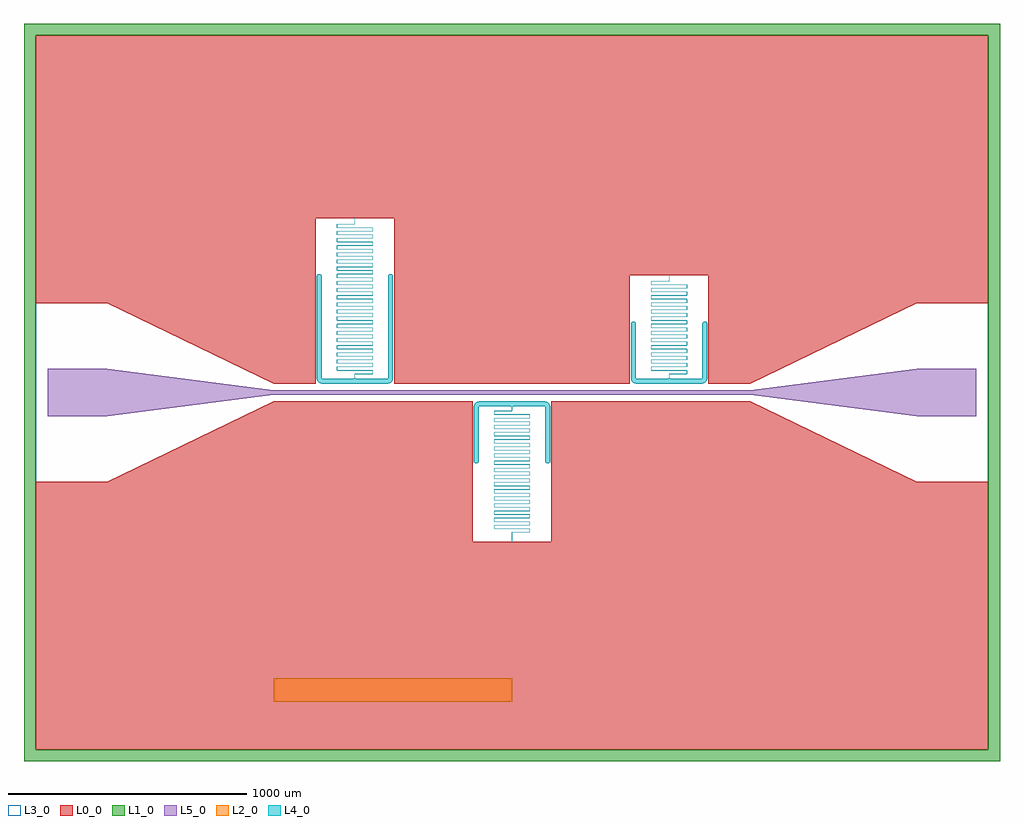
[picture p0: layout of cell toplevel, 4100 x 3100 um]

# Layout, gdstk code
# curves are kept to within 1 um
import gdstk
lib = gdstk.Library(unit=1e-6, precision=1e-09)
def R(c, l, rs):  # rectangles x0, y0, x1, y1
    for r in rs: c.add(gdstk.rectangle(r[:2], r[2:], *l))
def P(c, l, *ps):  # polygons
    for p in ps: c.add(gdstk.Polygon(p, *l))
L0_0 = (0, 0)
L1_0 = (1, 0)
L2_0 = (2, 0)
L3_0 = (3, 0)
L4_0 = (4, 0)
L5_0 = (5, 0)

toplevel = lib.new_cell('toplevel')
P(toplevel, L0_0, [(-495,732.5),(-495,37.5),(495,37.5),(495,492.5),(825,492.5),(825,37.5),(1000,37.5),(1700,375),(2000,375),(2000,1500),(-2000,1500),(-2000,375),(-1700,375),(-1000,37.5),(-825,37.5),(-825,732.5)],
  [(-2000,-1500),(2000,-1500),(2000,-375),(1700,-375),(1000,-37.5),(165,-37.5),(165,-627.5),(-165,-627.5),(-165,-37.5),(-1000,-37.5),(-1700,-375),(-2000,-375)])
P(toplevel, L1_0, [(2050,1550),(-2050,1550),(-2050,-1500),(-2000,-1500),(-2000,1500),(2000,1500),(2000,-1500),(-2000,-1500),(-2050,-1500),(-2050,-1550),(2050,-1550)])
R(toplevel, L2_0, [(-1000,-1300,0,-1200)])
R(toplevel, L3_0, [(-2000,-1500,2000,1500)])
P(toplevel, L4_0, [(-528.256,37.5),(-517.018,38.652),(-508.664,42.765),(-502.925,49.852),(-500.25,59.469),(-500,302.861),(-520,302.861),(-520.028,63.36),(-521.06,58.461),(-527.931,57.5),(-650,57.5),(-659.7,62.5),(-659.291,77.175),(-585.361,77.305),(-584.703,78.388),(-584.702,91.589),(-585.693,92.78),(-734.666,93.171),(-734.696,106.609),(-734.132,107.195),(-584.928,107.636),(-584.704,121.63),(-585.73,122.785),(-733.888,122.8),(-734.7,123.606),(-734.176,137.191),(-584.961,137.594),(-584.707,151.684),(-585.755,152.787),(-733.94,152.8),(-734.7,153.591),(-734.184,167.19),(-585.035,167.513),(-584.707,181.684),(-585.755,182.787),(-733.94,182.8),(-734.7,183.591),(-734.184,197.19),(-585.118,197.442),(-584.707,211.683),(-585.755,212.787),(-733.935,212.8),(-734.7,213.591),(-734.184,227.19),(-585.211,227.379),(-584.702,241.56),(-585.755,242.787),(-733.935,242.8),(-734.699,243.48),(-734.184,257.19),(-585.355,257.308),(-584.701,258.452),(-584.702,271.56),(-585.755,272.787),(-733.935,272.8),(-734.699,273.476),(-734.184,287.19),(-585.572,287.241),(-584.706,288.34),(-584.702,301.56),(-586.111,302.8),(-735.195,302.861),(-733.964,302.2),(-585.428,302.03),(-585.798,287.812),(-733.888,287.8),(-734.959,287.492),(-735.3,286.404),(-735.287,273.249),(-734.251,272.213),(-585.458,272.061),(-585.798,257.812),(-733.888,257.8),(-734.959,257.492),(-735.3,256.404),(-735.295,243.352),(-734.251,242.213),(-585.535,242.115),(-585.798,227.812),(-733.888,227.8),(-734.959,227.492),(-735.3,226.404),(-735.289,213.274),(-734.251,212.213),(-585.686,212.17),(-585.605,197.854),(-734.245,197.787),(-735.292,196.684),(-735.3,183.59),(-733.97,182.2),(-585.816,182.19),(-585.466,167.932),(-734.245,167.787),(-735.292,166.684),(-735.3,153.59),(-733.97,152.2),(-585.816,152.19),(-585.433,137.964),(-734.251,137.787),(-735.294,136.666),(-735.3,123.595),(-734.987,122.535),(-733.888,122.2),(-585.85,122.193),(-585.303,121.595),(-585.3,108.612),(-586.112,107.8),(-734.238,107.788),(-735.294,106.653),(-735.3,93.612),(-734.982,92.529),(-733.888,92.2),(-585.811,92.19),(-585.45,77.946),(-659.481,77.746),(-660.296,76.612),(-660.3,62.5),(-670,57.5),(-792.878,57.504),(-798.976,58.489),(-799.998,64.94),(-800,302.861),(-820,302.861),(-819.965,62.829),(-817.945,51.792),(-815.619,47.373),(-812.507,43.761),(-804.471,39.103),(-794.255,37.524)],
  [(-734.433,302.869),(-734.631,303.067),(-734.699,303.471),(-734.698,316.567),(-734.572,317.03),(-734.184,317.19),(-586.036,317.2),(-585.526,317.252),(-585.142,317.424),(-584.875,317.718),(-584.73,318.13),(-584.707,331.678),(-584.797,332.119),(-585.008,332.459),(-585.328,332.681),(-585.755,332.787),(-733.935,332.8),(-734.476,332.891),(-734.678,333.229),(-734.698,346.567),(-734.572,347.03),(-734.184,347.19),(-586.036,347.2),(-585.532,347.25),(-585.148,347.42),(-584.883,347.705),(-584.733,348.11),(-584.707,361.677),(-584.797,362.119),(-585.008,362.459),(-585.328,362.681),(-585.755,362.787),(-733.935,362.8),(-734.471,362.888),(-734.675,363.213),(-734.698,376.567),(-734.572,377.03),(-734.184,377.19),(-586.036,377.2),(-585.532,377.25),(-585.155,377.415),(-584.887,377.699),(-584.737,378.091),(-584.707,391.677),(-584.797,392.119),(-585.008,392.459),(-585.328,392.681),(-585.755,392.787),(-733.935,392.8),(-734.468,392.887),(-734.673,393.201),(-734.698,406.567),(-734.572,407.03),(-734.18,407.191),(-586.041,407.2),(-585.545,407.247),(-585.167,407.407),(-584.898,407.68),(-584.743,408.065),(-584.707,421.677),(-584.797,422.119),(-585.008,422.459),(-585.328,422.681),(-585.755,422.787),(-733.93,422.8),(-734.46,422.882),(-734.67,423.186),(-734.698,436.567),(-734.572,437.03),(-734.18,437.191),(-586.041,437.2),(-585.552,437.245),(-585.18,437.398),(-584.907,437.667),(-584.749,438.039),(-584.707,451.677),(-584.797,452.119),(-585.008,452.459),(-585.328,452.681),(-585.755,452.787),(-733.93,452.8),(-734.454,452.879),(-734.665,453.168),(-734.698,466.567),(-734.572,467.03),(-734.18,467.191),(-586.041,467.2),(-585.558,467.244),(-585.192,467.39),(-584.92,467.648),(-584.757,468.006),(-584.707,481.671),(-584.795,482.112),(-585.002,482.453),(-585.328,482.681),(-585.755,482.787),(-733.93,482.8),(-734.445,482.875),(-734.66,483.15),(-734.698,496.563),(-734.572,497.03),(-734.18,497.191),(-586.041,497.2),(-585.205,497.383),(-584.937,497.624),(-584.768,497.967),(-584.7,498.547),(-584.707,511.671),(-584.795,512.112),(-585.002,512.453),(-585.328,512.681),(-585.755,512.787),(-733.93,512.8),(-734.436,512.871),(-734.654,513.129),(-734.698,526.563),(-734.572,527.03),(-734.18,527.191),(-586.047,527.2),(-585.231,527.368),(-584.961,527.593),(-584.783,527.921),(-584.7,528.541),(-584.707,541.672),(-584.795,542.112),(-585.002,542.453),(-585.328,542.681),(-585.755,542.787),(-733.925,542.8),(-734.421,542.864),(-734.645,543.102),(-734.698,556.563),(-734.572,557.03),(-734.18,557.191),(-586.047,557.2),(-585.25,557.357),(-584.981,557.57),(-584.802,557.868),(-584.7,558.53),(-584.706,571.665),(-584.795,572.112),(-585.002,572.453),(-585.328,572.681),(-585.755,572.787),(-733.925,572.8),(-734.405,572.858),(-734.633,573.073),(-734.7,573.55),(-734.698,586.558),(-734.574,587.028),(-734.18,587.191),(-586.052,587.2),(-585.283,587.34),(-584.831,587.802),(-584.7,588.519),(-584.706,601.659),(-584.795,602.112),(-585.002,602.453),(-585.328,602.681),(-585.755,602.787),(-733.92,602.8),(-734.385,602.85),(-734.618,603.04),(-734.7,603.54),(-734.698,616.558),(-734.574,617.028),(-734.18,617.191),(-586.058,617.2),(-585.328,617.319),(-584.871,617.724),(-584.7,618.503),(-584.706,631.653),(-584.792,632.106),(-585.002,632.453),(-585.328,632.681),(-585.755,632.787),(-733.92,632.8),(-734.361,632.843),(-734.596,633.003),(-734.7,633.53),(-734.698,646.553),(-734.574,647.028),(-734.18,647.191),(-586.063,647.2),(-585.388,647.295),(-584.937,647.624),(-584.76,647.993),(-584.701,648.48),(-584.705,661.642),(-584.79,662.099),(-584.997,662.448),(-585.322,662.678),(-585.749,662.787),(-733.914,662.8),(-734.328,662.834),(-734.565,662.962),(-734.7,663.52),(-734.699,676.544),(-734.575,677.025),(-734.18,677.191),(-586.074,677.2),(-585.473,677.266),(-585.047,677.502),(-584.79,677.901),(-584.701,678.452),(-584.704,691.618),(-584.785,692.086),(-584.991,692.442),(-585.315,692.675),(-585.749,692.787),(-733.909,692.8),(-734.514,692.916),(-734.654,693.129),(-734.699,693.5),(-734.699,706.505),(-734.602,706.987),(-734.287,707.175),(-661.069,707.2),(-660.257,707.354),(-659.843,707.776),(-659.701,708.457),(-659.7,732.5),(-660.3,732.5),(-660.3,708.52),(-660.355,708.102),(-660.535,707.885),(-661.08,707.8),(-734.416,707.761),(-734.795,707.617),(-735.067,707.37),(-735.236,707.02),(-735.298,706.571),(-735.298,693.429),(-735.184,692.835),(-734.864,692.428),(-734.461,692.249),(-733.92,692.2),(-585.82,692.191),(-585.425,692.025),(-585.301,691.539),(-585.3,678.51),(-585.456,677.941),(-586.091,677.8),(-734.251,677.787),(-734.685,677.675),(-735.008,677.442),(-735.213,677.092),(-735.296,676.63),(-735.299,663.463),(-735.226,662.947),(-735.014,662.564),(-734.573,662.281),(-733.931,662.2),(-585.82,662.191),(-585.425,662.025),(-585.302,661.548),(-585.3,648.525),(-585.418,647.984),(-585.653,647.839),(-586.086,647.8),(-734.245,647.787),(-734.678,647.678),(-735.003,647.448),(-735.21,647.099),(-735.295,646.648),(-735.299,633.491),(-735.25,633.032),(-735.097,632.673),(-734.645,632.308),(-733.937,632.2),(-585.82,632.191),(-585.426,632.028),(-585.302,631.553),(-585.3,618.54),(-585.391,618.024),(-585.625,617.847),(-586.08,617.8),(-734.245,617.787),(-734.672,617.681),(-734.998,617.453),(-735.205,617.112),(-735.294,616.659),(-735.3,603.508),(-735.15,602.763),(-734.698,602.331),(-733.948,602.2),(-585.82,602.191),(-585.426,602.028),(-585.302,601.558),(-585.3,588.545),(-585.374,588.058),(-585.602,587.855),(-586.075,587.8),(-734.245,587.787),(-734.672,587.681),(-734.998,587.453),(-735.205,587.112),(-735.294,586.665),(-735.3,573.525),(-735.184,572.835),(-734.73,572.347),(-733.948,572.2),(-585.82,572.191),(-585.426,572.028),(-585.302,571.558),(-585.36,558.089),(-585.586,557.861),(-586.075,557.8),(-734.245,557.787),(-734.672,557.681),(-734.998,557.453),(-735.205,557.112),(-735.294,556.665),(-735.3,543.536),(-735.208,542.894),(-735.029,542.582),(-734.763,542.364),(-733.953,542.2),(-585.82,542.191),(-585.428,542.03),(-585.302,541.563),(-585.35,528.115),(-585.573,527.867),(-586.075,527.8),(-734.245,527.787),(-734.672,527.681),(-734.998,527.453),(-735.205,527.112),(-735.293,526.672),(-735.3,513.547),(-735.226,512.947),(-735.053,512.612),(-734.782,512.375),(-733.953,512.2),(-585.82,512.191),(-585.428,512.03),(-585.302,511.563),(-585.343,498.139),(-585.561,497.872),(-586.07,497.8),(-734.245,497.787),(-734.672,497.681),(-734.998,497.453),(-735.205,497.112),(-735.293,496.671),(-735.238,482.987),(-735.071,482.636),(-734.801,482.387),(-734.435,482.243),(-733.959,482.2),(-585.82,482.191),(-585.428,482.03),(-585.302,481.563),(-585.337,468.16),(-585.549,467.878),(-586.07,467.8),(-734.245,467.787),(-734.672,467.681),(-734.992,467.459),(-735.203,467.119),(-735.293,466.677),(-735.246,453.019),(-735.085,452.655),(-734.814,452.394),(-734.441,452.244),(-733.959,452.2),(-585.82,452.191),(-585.428,452.03),(-585.302,451.567),(-585.332,438.179),(-585.543,437.881),(-586.07,437.8),(-734.245,437.787),(-734.672,437.681),(-734.992,437.459),(-735.203,437.119),(-735.293,436.677),(-735.254,423.052),(-735.097,422.673),(-734.827,422.403),(-734.454,422.247),(-733.959,422.2),(-585.82,422.191),(-585.428,422.03),(-585.302,421.567),(-585.329,408.194),(-585.535,407.885),(-586.065,407.8),(-734.245,407.787),(-734.672,407.681),(-734.992,407.459),(-735.203,407.119),(-735.293,406.677),(-735.26,393.078),(-735.105,392.686),(-734.839,392.411),(-734.461,392.249),(-733.964,392.2),(-585.816,392.19),(-585.428,392.03),(-585.302,391.567),(-585.325,378.209),(-585.529,377.888),(-586.065,377.8),(-734.245,377.787),(-734.672,377.681),(-734.992,377.459),(-735.203,377.119),(-735.293,376.677),(-735.264,363.097),(-735.113,362.699),(-734.845,362.415),(-734.468,362.25),(-733.964,362.2),(-585.816,362.19),(-585.428,362.03),(-585.302,361.567),(-585.323,348.221),(-585.526,347.89),(-586.065,347.8),(-734.245,347.787),(-734.672,347.681),(-734.992,347.459),(-735.203,347.119),(-735.293,346.677),(-735.269,333.123),(-735.121,332.711),(-734.852,332.42),(-734.468,332.25),(-733.964,332.2),(-585.816,332.19),(-585.428,332.03),(-585.302,331.567),(-585.321,318.233),(-585.521,317.893),(-586.065,317.8),(-734.245,317.787),(-734.717,317.66),(-735.058,317.382),(-735.25,316.968),(-735.3,316.404),(-735.294,303.334),(-735.195,302.861)],
  [(-800,487.5),(-802.627,494.256),(-809.564,497.49),(-816.756,494.873),(-819.962,488.372),(-820,302.861),(-800,302.861)],
  [(-500,487.5),(-502.627,494.256),(-509.564,497.49),(-516.756,494.873),(-519.962,488.372),(-520,302.861),(-500,302.861)],
  [(-149.564,-297.49),(-143.244,-294.873),(-140.152,-289.236),(-140,-243.11),(-160,-243.11),(-159.848,-289.236),(-156.088,-295.433)],
  [(0.3,-588.55),(0.439,-587.958),(0.956,-587.801),(74.468,-587.75),(74.833,-587.593),(75.113,-587.301),(75.257,-586.935),(75.3,-586.388),(75.295,-573.364),(75.102,-572.68),(74.652,-572.31),(73.926,-572.2),(-74.18,-572.191),(-74.575,-572.025),(-74.699,-571.544),(-74.7,-558.52),(-74.648,-558.112),(-74.494,-557.902),(-73.914,-557.8),(74.251,-557.787),(74.678,-557.678),(75.003,-557.448),(75.21,-557.099),(75.295,-556.642),(75.299,-543.48),(75.208,-542.894),(74.918,-542.471),(74.468,-542.25),(73.937,-542.2),(-74.18,-542.191),(-74.574,-542.028),(-74.698,-541.553),(-74.7,-528.53),(-74.554,-527.95),(-74.321,-527.832),(-73.92,-527.8),(74.245,-527.787),(74.671,-527.681),(74.998,-527.453),(75.208,-527.106),(75.294,-526.654),(75.299,-513.503),(75.234,-512.973),(75.039,-512.593),(74.599,-512.29),(73.942,-512.2),(-74.18,-512.191),(-74.574,-512.028),(-74.698,-511.558),(-74.7,-498.54),(-74.599,-498.008),(-74.385,-497.85),(-73.92,-497.8),(74.245,-497.787),(74.671,-497.681),(74.998,-497.453),(75.205,-497.112),(75.294,-496.659),(75.3,-483.519),(75.129,-482.724),(74.639,-482.305),(73.948,-482.2),(-74.18,-482.191),(-74.574,-482.027),(-74.698,-481.558),(-74.7,-468.55),(-74.615,-468.035),(-74.361,-467.843),(-73.925,-467.8),(74.245,-467.787),(74.671,-467.681),(74.998,-467.453),(75.205,-467.112),(75.294,-466.665),(75.3,-453.53),(75.163,-452.789),(74.75,-452.357),(73.953,-452.2),(-74.18,-452.191),(-74.572,-452.03),(-74.698,-451.563),(-74.7,-438.555),(-74.626,-438.058),(-74.378,-437.848),(-73.925,-437.8),(74.245,-437.787),(74.671,-437.681),(74.998,-437.453),(75.205,-437.112),(75.293,-436.671),(75.3,-423.541),(75.181,-422.828),(74.982,-422.529),(74.691,-422.328),(73.953,-422.2),(-74.18,-422.191),(-74.572,-422.03),(-74.698,-421.563),(-74.7,-408.56),(-74.637,-408.082),(-74.392,-407.853),(-73.93,-407.8),(74.245,-407.787),(74.671,-407.681),(74.998,-407.453),(75.205,-407.112),(75.293,-406.671),(75.3,-393.547),(75.2,-392.875),(75.034,-392.587),(74.756,-392.36),(73.959,-392.2),(-74.18,-392.191),(-74.572,-392.03),(-74.698,-391.563),(-74.645,-378.102),(-74.398,-377.855),(-73.93,-377.8),(74.245,-377.787),(74.671,-377.681),(74.998,-377.453),(75.205,-377.112),(75.293,-376.671),(75.3,-363.558),(75.228,-362.954),(75.08,-362.648),(74.808,-362.39),(74.442,-362.244),(73.959,-362.2),(-74.18,-362.191),(-74.572,-362.03),(-74.698,-361.567),(-74.65,-348.115),(-74.454,-347.879),(-73.93,-347.8),(74.245,-347.787),(74.671,-347.681),(74.992,-347.459),(75.203,-347.119),(75.293,-346.677),(75.3,-333.563),(75.224,-332.94),(75.034,-332.587),(74.782,-332.375),(73.959,-332.2),(-74.18,-332.191),(-74.572,-332.03),(-74.698,-331.567),(-74.67,-318.186),(-74.46,-317.882),(-73.93,-317.8),(74.245,-317.787),(74.671,-317.681),(74.992,-317.459),(75.203,-317.119),(75.293,-316.678),(75.245,-303.013),(75.102,-302.68),(74.833,-302.407),(74.454,-302.247),(73.959,-302.2),(-74.18,-302.191),(-74.572,-302.03),(-74.698,-301.567),(-74.673,-288.202),(-74.468,-287.887),(-73.935,-287.8),(74.245,-287.787),(74.671,-287.681),(74.992,-287.459),(75.203,-287.119),(75.293,-286.678),(75.25,-273.032),(75.085,-272.655),(74.808,-272.39),(74.416,-272.238),(73.964,-272.2),(-74.184,-272.19),(-74.572,-272.03),(-74.698,-271.567),(-74.675,-258.213),(-74.471,-257.888),(-73.935,-257.8),(74.245,-257.787),(74.671,-257.681),(74.992,-257.459),(75.203,-257.119),(75.293,-256.677),(75.267,-243.11),(74.648,-243.11),(74.698,-256.567),(74.572,-257.03),(74.184,-257.19),(-73.964,-257.2),(-74.468,-257.25),(-74.845,-257.415),(-75.113,-257.699),(-75.264,-258.097),(-75.293,-271.678),(-75.203,-272.119),(-74.992,-272.459),(-74.671,-272.681),(-74.245,-272.787),(73.935,-272.8),(74.471,-272.888),(74.675,-273.209),(74.698,-286.567),(74.572,-287.03),(74.184,-287.19),(-73.964,-287.2),(-74.461,-287.249),(-74.839,-287.411),(-75.106,-287.686),(-75.26,-288.078),(-75.293,-301.678),(-75.203,-302.119),(-74.992,-302.459),(-74.671,-302.681),(-74.245,-302.787),(73.935,-302.8),(74.465,-302.885),(74.671,-303.194),(74.698,-316.567),(74.572,-317.03),(74.18,-317.191),(-73.959,-317.2),(-74.454,-317.247),(-74.827,-317.403),(-75.097,-317.673),(-75.241,-318),(-75.293,-331.678),(-75.203,-332.119),(-74.992,-332.459),(-74.671,-332.681),(-74.245,-332.787),(73.93,-332.8),(74.411,-332.86),(74.653,-333.125),(74.698,-346.567),(74.572,-347.03),(74.18,-347.191),(-73.959,-347.2),(-74.776,-347.371),(-75.058,-347.618),(-75.232,-347.967),(-75.3,-348.558),(-75.293,-361.677),(-75.203,-362.119),(-74.992,-362.459),(-74.671,-362.681),(-74.245,-362.787),(73.93,-362.8),(74.405,-362.858),(74.647,-363.108),(74.698,-376.563),(74.572,-377.03),(74.18,-377.191),(-73.959,-377.2),(-74.763,-377.364),(-75.044,-377.599),(-75.208,-377.894),(-75.3,-378.552),(-75.293,-391.671),(-75.205,-392.112),(-74.998,-392.453),(-74.671,-392.681),(-74.245,-392.787),(73.93,-392.8),(74.439,-392.872),(74.641,-393.092),(74.698,-406.563),(74.572,-407.03),(74.18,-407.191),(-73.953,-407.2),(-74.743,-407.353),(-75.024,-407.576),(-75.21,-407.901),(-75.3,-408.547),(-75.293,-421.671),(-75.205,-422.112),(-74.998,-422.453),(-74.671,-422.681),(-74.245,-422.787),(73.925,-422.8),(74.382,-422.849),(74.632,-423.07),(74.7,-423.56),(74.698,-436.563),(74.572,-437.03),(74.18,-437.191),(-73.953,-437.2),(-74.685,-437.325),(-74.97,-437.518),(-75.172,-437.809),(-75.3,-438.536),(-75.294,-451.665),(-75.205,-452.112),(-74.998,-452.453),(-74.671,-452.681),(-74.245,-452.787),(73.925,-452.8),(74.414,-452.861),(74.622,-453.049),(74.7,-453.555),(74.698,-466.558),(74.574,-467.027),(74.18,-467.191),(-73.948,-467.2),(-74.652,-467.31),(-74.942,-467.491),(-75.146,-467.757),(-75.3,-468.525),(-75.294,-481.665),(-75.205,-482.112),(-74.998,-482.453),(-74.671,-482.681),(-74.245,-482.787),(73.925,-482.8),(74.398,-482.855),(74.607,-483.021),(74.7,-483.545),(74.698,-496.558),(74.574,-497.027),(74.18,-497.191),(-73.948,-497.2),(-74.619,-497.297),(-75.062,-497.624),(-75.243,-498.006),(-75.3,-498.508),(-75.294,-511.659),(-75.205,-512.112),(-74.998,-512.453),(-74.671,-512.681),(-74.245,-512.787),(73.92,-512.8),(74.332,-512.835),(74.566,-512.964),(74.7,-513.54),(74.698,-526.553),(74.574,-527.028),(74.18,-527.191),(-73.937,-527.2),(-74.494,-527.257),(-74.959,-527.508),(-75.222,-527.934),(-75.299,-528.491),(-75.295,-541.648),(-75.21,-542.099),(-75.003,-542.448),(-74.678,-542.678),(-74.245,-542.787),(73.914,-542.8),(74.54,-542.937),(74.7,-543.525),(74.698,-556.548),(74.575,-557.025),(74.18,-557.191),(-73.931,-557.2),(-74.435,-557.243),(-74.82,-557.398),(-75.184,-557.835),(-75.299,-558.463),(-75.296,-571.63),(-75.213,-572.092),(-75.008,-572.442),(-74.685,-572.675),(-74.251,-572.787),(74.411,-572.86),(74.628,-573.061),(74.7,-573.51),(74.699,-586.515),(74.601,-586.989),(74.287,-587.175),(1.058,-587.2),(0.526,-587.252),(0.136,-587.428),(-0.195,-587.861),(-0.3,-588.508),(-0.3,-627.5),(0.3,-627.5)],
  [(150.436,-297.49),(156.756,-294.873),(159.848,-289.236),(160,-243.11),(140,-243.11),(140.152,-289.236),(143.912,-295.433)],
  [(160,-65.846),(158.848,-54.518),(154.523,-45.9),(147.232,-40.22),(137.094,-37.664),(-133.348,-37.508),(-141.658,-38.327),(-148.342,-40.789),(-153.012,-44.24),(-156.634,-49.02),(-158.884,-54.652),(-159.905,-61.426),(-160,-243.11),(-140,-243.11),(-139.962,-63.083),(-138.918,-58.445),(-132.069,-57.5),(-10,-57.5),(-0.3,-62.5),(-0.709,-77.175),(-74.639,-77.305),(-75.296,-78.388),(-75.297,-91.589),(-74.307,-92.78),(74.65,-93.115),(74.132,-107.195),(-74.976,-107.524),(-75.296,-121.624),(-74.276,-122.784),(73.888,-122.8),(74.7,-123.612),(74.163,-137.192),(-74.9,-137.456),(-75.294,-151.654),(-74.245,-152.787),(73.888,-152.8),(74.7,-153.612),(74.184,-167.19),(-74.808,-167.39),(-75.296,-181.624),(-74.269,-182.785),(73.888,-182.8),(74.698,-183.423),(74.176,-197.191),(-74.645,-197.308),(-75.293,-198.328),(-75.298,-211.56),(-74.245,-212.787),(73.935,-212.8),(74.699,-213.466),(74.184,-227.19),(-74.416,-227.238),(-75.293,-228.322),(-75.298,-241.56),(-73.888,-242.8),(75.267,-243.11),(73.964,-242.2),(-74.542,-242.061),(-74.197,-227.811),(73.888,-227.8),(75.3,-226.404),(75.293,-213.328),(74.245,-212.213),(-74.465,-212.115),(-74.197,-197.811),(73.997,-197.799),(75.3,-196.378),(75.292,-183.31),(74.238,-182.212),(-74.291,-182.175),(-74.421,-167.864),(74.257,-167.786),(75.287,-166.751),(75.3,-153.601),(73.888,-152.2),(-74.171,-152.191),(-74.509,-137.912),(74.22,-137.79),(75.293,-136.678),(75.3,-123.606),(73.888,-122.2),(-74.15,-122.193),(-74.7,-108.612),(-73.888,-107.8),(74.238,-107.788),(75.294,-106.653),(75.3,-93.612),(73.888,-92.2),(-74.189,-92.19),(-74.519,-77.919),(-0.519,-77.746),(0.296,-76.612),(0.3,-62.5),(10,-57.5),(132.878,-57.504),(138.839,-58.392),(139.997,-64.78),(140,-243.11),(160,-243.11)],
  [(791.744,37.5),(802.184,38.448),(810.263,41.974),(816.064,48.055),(819.333,56.619),(820,182.947),(800,182.947),(799.929,62.427),(798.839,58.392),(792.069,57.5),(670,57.5),(660.3,62.5),(660.709,77.175),(734.639,77.305),(735.297,91.589),(734.307,92.78),(585.371,93.064),(585.811,107.19),(734.814,107.394),(735.298,121.565),(734.238,122.788),(585.301,123.461),(585.816,137.19),(734.625,137.3),(735.298,151.56),(734.245,152.787),(586.065,152.8),(585.3,153.575),(585.82,167.191),(734.403,167.236),(735.29,168.286),(735.298,181.56),(733.888,182.8),(584.774,182.947),(586.041,182.2),(734.465,182.115),(734.189,167.81),(586.111,167.8),(584.7,166.404),(584.709,153.298),(585.761,152.212),(734.314,152.17),(734.424,137.865),(585.755,137.787),(584.707,136.678),(584.7,123.574),(586.036,122.2),(734.18,122.191),(734.7,108.622),(733.965,107.8),(585.798,107.791),(584.707,106.683),(584.7,93.622),(586.111,92.2),(734.189,92.19),(734.482,77.894),(660.519,77.746),(659.703,76.612),(659.7,62.5),(650,57.5),(527.602,57.501),(521.512,58.21),(520.396,59.981),(520.004,64.622),(520,182.947),(500,182.947),(500.204,59.941),(501.427,53.574),(503.936,48.055),(507.621,43.645),(512.49,40.356),(518.991,38.192),(527.042,37.504)],
  [(585.435,182.962),(585.3,183.575),(585.302,196.567),(585.428,197.03),(585.82,197.191),(733.959,197.2),(734.448,197.245),(734.82,197.398),(735.093,197.667),(735.251,198.039),(735.293,211.677),(735.203,212.119),(734.992,212.459),(734.672,212.681),(734.245,212.787),(586.07,212.8),(585.546,212.879),(585.335,213.168),(585.302,226.567),(585.428,227.03),(585.82,227.191),(733.959,227.2),(734.441,227.244),(734.808,227.39),(735.08,227.648),(735.243,228.006),(735.293,241.671),(735.205,242.112),(734.998,242.453),(734.672,242.681),(734.245,242.787),(586.07,242.8),(585.555,242.875),(585.34,243.15),(585.302,256.563),(585.428,257.03),(585.82,257.191),(733.959,257.2),(734.795,257.383),(735.062,257.624),(735.232,257.967),(735.3,258.547),(735.293,271.671),(735.205,272.112),(734.998,272.453),(734.672,272.681),(734.245,272.787),(586.07,272.8),(585.564,272.871),(585.346,273.129),(585.302,286.563),(585.428,287.03),(585.82,287.191),(733.953,287.2),(734.769,287.368),(735.039,287.594),(735.217,287.921),(735.3,288.541),(735.293,301.671),(735.205,302.112),(734.998,302.453),(734.672,302.681),(734.245,302.787),(586.075,302.8),(585.579,302.864),(585.355,303.102),(585.302,316.563),(585.428,317.03),(585.82,317.191),(733.953,317.2),(734.75,317.357),(735.019,317.57),(735.198,317.868),(735.3,318.53),(735.294,331.666),(735.205,332.112),(734.998,332.453),(734.672,332.681),(734.245,332.787),(586.075,332.8),(585.595,332.858),(585.367,333.073),(585.3,333.55),(585.302,346.558),(585.426,347.027),(585.82,347.191),(733.948,347.2),(734.717,347.34),(735.169,347.802),(735.3,348.519),(735.294,361.659),(735.205,362.112),(734.998,362.453),(734.672,362.681),(734.245,362.787),(586.08,362.8),(585.615,362.85),(585.382,363.04),(585.3,363.54),(585.302,376.558),(585.426,377.027),(585.82,377.191),(733.942,377.2),(734.672,377.319),(735.129,377.724),(735.299,378.503),(735.294,391.653),(735.208,392.106),(734.998,392.453),(734.672,392.681),(734.245,392.787),(586.08,392.8),(585.639,392.843),(585.404,393.003),(585.3,393.53),(585.302,406.553),(585.426,407.027),(585.82,407.191),(733.937,407.2),(734.612,407.295),(735.062,407.624),(735.24,407.993),(735.299,408.48),(735.295,421.642),(735.21,422.099),(735.003,422.448),(734.678,422.678),(734.251,422.787),(586.086,422.8),(585.672,422.834),(585.435,422.962),(585.3,423.52),(585.301,436.544),(585.425,437.025),(585.82,437.191),(733.926,437.2),(734.527,437.266),(734.953,437.502),(735.21,437.901),(735.299,438.452),(735.296,451.618),(735.215,452.086),(735.008,452.442),(734.685,452.675),(734.251,452.787),(586.091,452.8),(585.486,452.916),(585.346,453.129),(585.301,453.5),(585.301,466.505),(585.398,466.987),(585.713,467.175),(658.931,467.2),(659.743,467.353),(660.157,467.776),(660.299,468.457),(660.3,492.5),(659.7,492.5),(659.7,468.52),(659.645,468.102),(659.465,467.885),(658.92,467.8),(585.584,467.761),(585.205,467.617),(584.933,467.37),(584.764,467.02),(584.702,466.571),(584.702,453.429),(584.816,452.835),(585.136,452.428),(585.539,452.249),(586.08,452.2),(734.18,452.191),(734.575,452.025),(734.699,451.539),(734.7,438.51),(734.544,437.941),(733.909,437.8),(585.749,437.787),(585.315,437.675),(584.991,437.442),(584.787,437.092),(584.704,436.63),(584.701,423.463),(584.774,422.947),(584.986,422.564),(585.427,422.281),(586.069,422.2),(734.18,422.191),(734.575,422.025),(734.698,421.548),(734.7,408.525),(734.582,407.984),(734.347,407.839),(733.914,407.8),(585.755,407.787),(585.322,407.678),(584.997,407.448),(584.79,407.099),(584.705,406.647),(584.701,393.491),(584.75,393.032),(584.903,392.673),(585.355,392.308),(586.063,392.2),(734.18,392.191),(734.574,392.027),(734.698,391.553),(734.7,378.54),(734.609,378.024),(734.375,377.847),(733.92,377.8),(585.755,377.787),(585.328,377.681),(585.002,377.453),(584.795,377.112),(584.706,376.659),(584.7,363.508),(584.85,362.763),(585.302,362.331),(586.052,362.2),(734.18,362.191),(734.574,362.027),(734.698,361.558),(734.7,348.545),(734.626,348.058),(734.398,347.855),(733.925,347.8),(585.755,347.787),(585.328,347.681),(585.002,347.453),(584.795,347.112),(584.706,346.665),(584.7,333.525),(584.816,332.835),(585.002,332.547),(585.27,332.347),(586.052,332.2),(734.18,332.191),(734.574,332.027),(734.698,331.558),(734.64,318.089),(734.414,317.861),(733.925,317.8),(585.755,317.787),(585.328,317.681),(585.002,317.453),(584.795,317.112),(584.706,316.666),(584.7,303.536),(584.792,302.894),(584.971,302.582),(585.237,302.364),(586.047,302.2),(734.18,302.191),(734.572,302.03),(734.698,301.563),(734.649,288.115),(734.427,287.867),(733.925,287.8),(585.755,287.787),(585.328,287.681),(585.002,287.453),(584.795,287.112),(584.707,286.671),(584.7,273.547),(584.774,272.947),(584.947,272.612),(585.218,272.375),(586.047,272.2),(734.18,272.191),(734.572,272.03),(734.698,271.563),(734.657,258.139),(734.439,257.872),(733.93,257.8),(585.755,257.787),(585.328,257.681),(585.002,257.453),(584.795,257.112),(584.707,256.671),(584.762,242.987),(584.928,242.636),(585.199,242.387),(585.565,242.243),(586.041,242.2),(734.18,242.191),(734.572,242.03),(734.698,241.563),(734.663,228.16),(734.451,227.878),(733.93,227.8),(585.755,227.787),(585.328,227.681),(585.008,227.459),(584.797,227.119),(584.707,226.677),(584.754,213.019),(584.915,212.655),(585.186,212.394),(585.558,212.244),(586.041,212.2),(734.18,212.191),(734.572,212.03),(734.698,211.567),(734.668,198.179),(734.457,197.881),(733.93,197.8),(585.755,197.787),(585.328,197.681),(584.976,197.424),(584.764,197.02),(584.702,196.56),(584.703,183.406),(584.774,182.947)],
  [(520,287.5),(517.373,294.256),(510.872,297.462),(503.912,295.433),(500.152,289.236),(500,182.947),(520,182.947)],
  [(820,287.5),(817.373,294.256),(810.872,297.462),(803.912,295.433),(800.152,289.236),(800,182.947),(820,182.947)])
P(toplevel, L5_0, [(-1000,10),(-1700,100),(-1950,100),(-1950,-100),(-1700,-100),(-1000,-10),(1000,-10),(1700,-100),(1950,-100),(1950,100),(1700,100),(1000,10)])

lib.write_gds('toplevel.gds')
